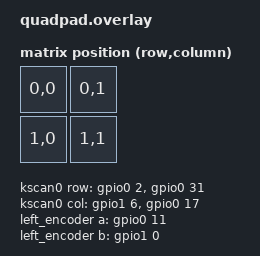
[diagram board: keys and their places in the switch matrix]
#include <dt-bindings/zmk/matrix_transform.h>

/ {
    kscan0: kscan0 {
        compatible = "zmk,kscan-gpio-matrix";
        diode-direction = "col2row";
        wakeup-source;

        col-gpios
            = <&gpio1 6 GPIO_ACTIVE_HIGH>
            , <&gpio0 17 GPIO_ACTIVE_HIGH>
            ;

        row-gpios
            = <&gpio0 2 (GPIO_ACTIVE_HIGH | GPIO_PULL_DOWN)>
            , <&gpio0 31 (GPIO_ACTIVE_HIGH | GPIO_PULL_DOWN)>
            ;
    };

    // --- ここからエンコーダーの設定追加 ---
    left_encoder: encoder_left {
        compatible = "alps,ec11";
        label = "LEFT_ENCODER";
        // 指定された GPIO 0.11 と 1.00 を設定
        a-gpios = <&gpio0 11 (GPIO_ACTIVE_LOW | GPIO_PULL_UP)>;
        b-gpios = <&gpio1 0 (GPIO_ACTIVE_LOW | GPIO_PULL_UP)>;
        steps = <80>;
    };

    sensors {
        compatible = "zmk,keymap-sensors";
        sensors = <&left_encoder>;
        triggers-per-rotation = <20>;
    };
    // --- ここまで ---
};


/ {
    default_transform: keymap_transform0 {
        compatible = "zmk,matrix-transform";
        columns = <2>; 
        rows = <2>; 
        map = <
            RC(0,0) RC(0,1) 
            RC(1,0) RC(1,1)
        >;
    };
};

/ {
    physical_layout0: physical_layout_0 { 
        compatible = "zmk,physical-layout";
        display-name = "Default Layout";
        kscan = <&kscan0>; 
        transform = <&default_transform>; 
    };
};

/ {
    chosen {
        zmk,physical-layout = &physical_layout0;
    };
};
